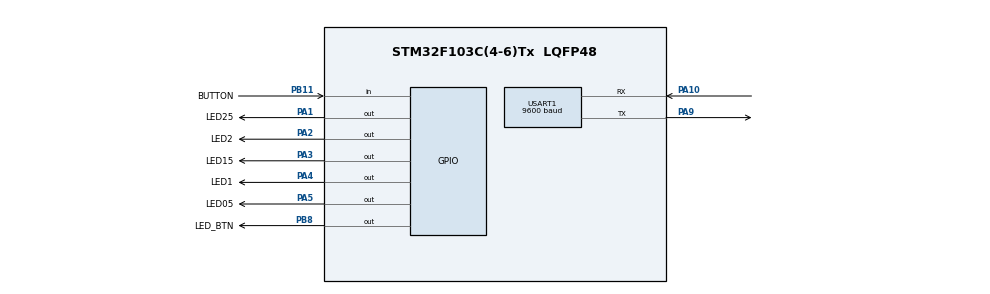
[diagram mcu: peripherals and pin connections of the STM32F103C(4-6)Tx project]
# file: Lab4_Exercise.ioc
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Mcu.Family=STM32F1
Mcu.Name=STM32F103C(4-6)Tx
Mcu.Package=LQFP48
NVIC.PriorityGroup=NVIC_PRIORITYGROUP_4
NVIC.TIM2_IRQn=true\:0\:0\:false\:false\:true\:true\:true\:true
NVIC.USART1_IRQn=true\:0\:0\:false\:false\:true\:true\:true\:true
PA1.GPIO_Label=LED25
PA1.Signal=GPIO_Output
PA10.Mode=Asynchronous
PA10.Signal=USART1_RX
PA2.GPIO_Label=LED2
PA2.Signal=GPIO_Output
PA3.GPIO_Label=LED15
PA3.Signal=GPIO_Output
PA4.GPIO_Label=LED1
PA4.Signal=GPIO_Output
PA5.GPIO_Label=LED05
PA5.Signal=GPIO_Output
PA9.Mode=Asynchronous
PA9.Signal=USART1_TX
PB11.GPIO_Label=BUTTON
PB11.GPIO_PuPd=GPIO_PULLUP
PB11.Signal=GPIO_Input
PB8.GPIO_Label=LED_BTN
PB8.Signal=GPIO_Output
ProjectManager.HeapSize=0x200
ProjectManager.StackSize=0x400
ProjectManager.TargetToolchain=STM32CubeIDE
RCC.APB1Freq_Value=8000000
RCC.APB2Freq_Value=8000000
TIM2.Period=9
TIM2.Prescaler=7999
USART1.BaudRate=9600
USART1.VirtualMode=VM_ASYNC
VP_TIM2_VS_ClockSourceINT.Mode=Internal
board=custom

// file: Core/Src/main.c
/* USER CODE BEGIN Header */
/**
  ******************************************************************************
  * @file           : main.c
  * @brief          : Main program body
  ******************************************************************************
  * @attention
  *
  * Copyright (c) 2023 STMicroelectronics.
  * All rights reserved.
  *
  * This software is licensed under terms that can be found in the LICENSE file
  * in the root directory of this software component.
  * If no LICENSE file comes with this software, it is provided AS-IS.
  *
  ******************************************************************************
  */
/* USER CODE END Header */
#include "main.h"

/* USER CODE BEGIN Includes */
#include "scheduler.h"
#include "global.h"
#include "stdio.h"
#include "button_reading.h"
/* USER CODE END Includes */

TIM_HandleTypeDef htim2;

UART_HandleTypeDef huart1;

/* USER CODE BEGIN PV */
// Use for display the number of ticks the program has been run
uint32_t display_counter = 0;
/* USER CODE END PV */

void SystemClock_Config(void);
static void MX_GPIO_Init(void);
static void MX_TIM2_Init(void);
static void MX_USART1_UART_Init(void);
/* USER CODE BEGIN PFP */
void LED05_blink(void);
void LED1_blink(void);
void LED15_blink(void);
void LED2_blink(void);
void LED25_blink(void);

void print10ms(void);
void print500ms(void);

void print_time(const char *msg);
void long_task();
/* USER CODE END PFP */

int main(void)
{

  /* MCU Configuration--------------------------------------------------------*/

  /* Reset of all peripherals, Initializes the Flash interface and the Systick. */
  HAL_Init();

  /* Configure the system clock */
  SystemClock_Config();

  /* Initialize all configured peripherals */
  MX_GPIO_Init();
  MX_TIM2_Init();
  MX_USART1_UART_Init();

  /* Infinite loop */
  /* USER CODE BEGIN WHILE */
  SCH_Init();
  SCH_Add_Task(LED05_blink, 110, 500);
  SCH_Add_Task(LED1_blink, 130, 1000);
  SCH_Add_Task(LED15_blink, 170, 1500);
  SCH_Add_Task(LED2_blink, 190, 2000);
  SCH_Add_Task(LED25_blink, 2500, 0);
  SCH_Add_Task(print10ms, 2000, 10);
  SCH_Add_Task(print500ms, 2000, 500);
  SCH_Add_Task(read_button, 0, 10);

  while (1)
  {
	  SCH_Dispatch_Tasks();
    /* USER CODE END WHILE */

  }
}

void SystemClock_Config(void)
{
  RCC_OscInitTypeDef RCC_OscInitStruct = {0};
  RCC_ClkInitTypeDef RCC_ClkInitStruct = {0};

  /** Initializes the RCC Oscillators according to the specified parameters
  * in the RCC_OscInitTypeDef structure.
  */
  RCC_OscInitStruct.OscillatorType = RCC_OSCILLATORTYPE_HSI;
  RCC_OscInitStruct.HSIState = RCC_HSI_ON;
  RCC_OscInitStruct.HSICalibrationValue = RCC_HSICALIBRATION_DEFAULT;
  RCC_OscInitStruct.PLL.PLLState = RCC_PLL_NONE;
  if (HAL_RCC_OscConfig(&RCC_OscInitStruct) != HAL_OK)
  {
    Error_Handler();
  }

  /** Initializes the CPU, AHB and APB buses clocks
  */
  RCC_ClkInitStruct.ClockType = RCC_CLOCKTYPE_HCLK|RCC_CLOCKTYPE_SYSCLK
                              |RCC_CLOCKTYPE_PCLK1|RCC_CLOCKTYPE_PCLK2;
  RCC_ClkInitStruct.SYSCLKSource = RCC_SYSCLKSOURCE_HSI;
  RCC_ClkInitStruct.AHBCLKDivider = RCC_SYSCLK_DIV1;
  RCC_ClkInitStruct.APB1CLKDivider = RCC_HCLK_DIV1;
  RCC_ClkInitStruct.APB2CLKDivider = RCC_HCLK_DIV1;

  if (HAL_RCC_ClockConfig(&RCC_ClkInitStruct, FLASH_LATENCY_0) != HAL_OK)
  {
    Error_Handler();
  }
}

static void MX_TIM2_Init(void)
{

  TIM_ClockConfigTypeDef sClockSourceConfig = {0};
  TIM_MasterConfigTypeDef sMasterConfig = {0};

  htim2.Instance = TIM2;
  htim2.Init.Prescaler = 7999;
  htim2.Init.CounterMode = TIM_COUNTERMODE_UP;
  htim2.Init.Period = 9;
  htim2.Init.ClockDivision = TIM_CLOCKDIVISION_DIV1;
  htim2.Init.AutoReloadPreload = TIM_AUTORELOAD_PRELOAD_DISABLE;
  if (HAL_TIM_Base_Init(&htim2) != HAL_OK)
  {
    Error_Handler();
  }
  sClockSourceConfig.ClockSource = TIM_CLOCKSOURCE_INTERNAL;
  if (HAL_TIM_ConfigClockSource(&htim2, &sClockSourceConfig) != HAL_OK)
  {
    Error_Handler();
  }
  sMasterConfig.MasterOutputTrigger = TIM_TRGO_RESET;
  sMasterConfig.MasterSlaveMode = TIM_MASTERSLAVEMODE_DISABLE;
  if (HAL_TIMEx_MasterConfigSynchronization(&htim2, &sMasterConfig) != HAL_OK)
  {
    Error_Handler();
  }

}

static void MX_USART1_UART_Init(void)
{

  huart1.Instance = USART1;
  huart1.Init.BaudRate = 9600;
  huart1.Init.WordLength = UART_WORDLENGTH_8B;
  huart1.Init.StopBits = UART_STOPBITS_1;
  huart1.Init.Parity = UART_PARITY_NONE;
  huart1.Init.Mode = UART_MODE_TX_RX;
  huart1.Init.HwFlowCtl = UART_HWCONTROL_NONE;
  huart1.Init.OverSampling = UART_OVERSAMPLING_16;
  if (HAL_UART_Init(&huart1) != HAL_OK)
  {
    Error_Handler();
  }

}

static void MX_GPIO_Init(void)
{
  GPIO_InitTypeDef GPIO_InitStruct = {0};

  /* GPIO Ports Clock Enable */
  __HAL_RCC_GPIOA_CLK_ENABLE();
  __HAL_RCC_GPIOB_CLK_ENABLE();

  /*Configure GPIO pin Output Level */
  HAL_GPIO_WritePin(GPIOA, LED25_Pin|LED2_Pin|LED15_Pin|LED1_Pin
                          |LED05_Pin, GPIO_PIN_RESET);

  /*Configure GPIO pin Output Level */
  HAL_GPIO_WritePin(LED_BTN_GPIO_Port, LED_BTN_Pin, GPIO_PIN_RESET);

  /*Configure GPIO pins : LED25_Pin LED2_Pin LED15_Pin LED1_Pin
                           LED05_Pin */
  GPIO_InitStruct.Pin = LED25_Pin|LED2_Pin|LED15_Pin|LED1_Pin
                          |LED05_Pin;
  GPIO_InitStruct.Mode = GPIO_MODE_OUTPUT_PP;
  GPIO_InitStruct.Pull = GPIO_NOPULL;
  GPIO_InitStruct.Speed = GPIO_SPEED_FREQ_LOW;
  HAL_GPIO_Init(GPIOA, &GPIO_InitStruct);

  /*Configure GPIO pin : BUTTON_Pin */
  GPIO_InitStruct.Pin = BUTTON_Pin;
  GPIO_InitStruct.Mode = GPIO_MODE_INPUT;
  GPIO_InitStruct.Pull = GPIO_PULLUP;
  HAL_GPIO_Init(BUTTON_GPIO_Port, &GPIO_InitStruct);

  /*Configure GPIO pin : LED_BTN_Pin */
  GPIO_InitStruct.Pin = LED_BTN_Pin;
  GPIO_InitStruct.Mode = GPIO_MODE_OUTPUT_PP;
  GPIO_InitStruct.Pull = GPIO_NOPULL;
  GPIO_InitStruct.Speed = GPIO_SPEED_FREQ_LOW;
  HAL_GPIO_Init(LED_BTN_GPIO_Port, &GPIO_InitStruct);

}

/* USER CODE BEGIN 4 */
void LED05_blink()
{
	HAL_GPIO_TogglePin(LED05_GPIO_Port, LED05_Pin);
	print_time("LED 0.5s");
}

void LED1_blink()
{
	HAL_GPIO_TogglePin(LED1_GPIO_Port, LED1_Pin);
	print_time("LED 1s");
}

void LED15_blink()
{
	HAL_GPIO_TogglePin(LED15_GPIO_Port, LED15_Pin);
	print_time("LED 1.5s");
}

void LED2_blink()
{
	HAL_GPIO_TogglePin(LED2_GPIO_Port, LED2_Pin);
	print_time("LED 2s");
}

void LED25_blink()
{
	HAL_GPIO_TogglePin(LED25_GPIO_Port, LED25_Pin);
	print_time("LED 2.5s");
}

void print10ms()
{
	print_time("10ms");
}

void print500ms()
{
	print_time("500ms");
}

void print_time(const char *msg)
{
	char data[100];
	uint8_t len = sprintf(data, "%s: %lu\r", msg, display_counter);
	HAL_UART_Transmit(&huart1, (uint8_t*)data, len, 500);
}
/* USER CODE END 4 */

void Error_Handler(void)
{
  __disable_irq();
  while (1)
  {
  }
}
